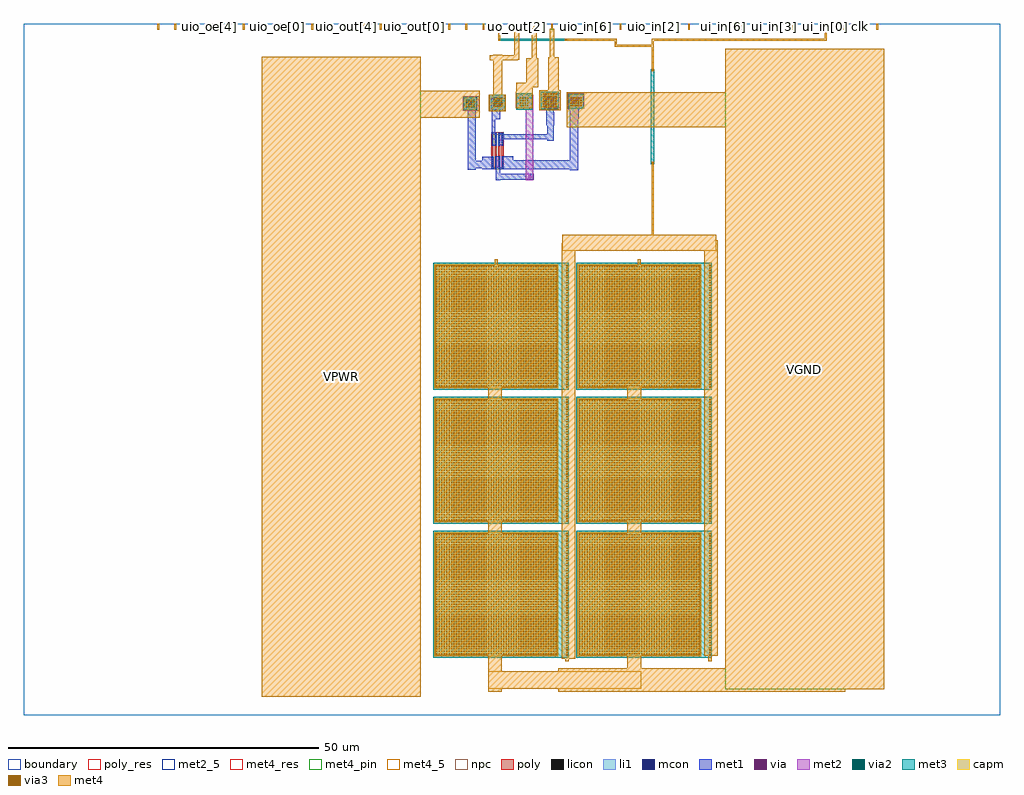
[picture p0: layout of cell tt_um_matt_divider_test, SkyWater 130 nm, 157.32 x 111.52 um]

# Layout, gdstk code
import gdstk
lib = gdstk.Library(unit=1e-6, precision=1e-09)
def R(c, l, rs):  # rectangles x0, y0, x1, y1
    for r in rs: c.add(gdstk.rectangle(r[:2], r[2:], *l))
def A(c, l, x, y, w, h, nx, ny, dx, dy):  # array of equal rectangles
    R(c, l, [(x+i*dx, y+j*dy, x+i*dx+w, y+j*dy+h) for i in range(nx) for j in range(ny)])
poly_res = (66, 13)
poly = (66, 20)
licon = (66, 44)
li1 = (67, 20)
mcon = (67, 44)
met1 = (68, 20)
via = (68, 44)
met2_5 = (69, 5)
met2 = (69, 20)
via2 = (69, 44)
met3 = (70, 20)
via3 = (70, 44)
met4_5 = (71, 5)
met4_res = (71, 13)
met4_pin = (71, 16)
met4 = (71, 20)
capm = (89, 44)
npc = (95, 20)
boundary = (235, 4)

sky130_fd_pr__res_generi = lib.new_cell('sky130_fd_pr__res_generic_m4_RPNQRH')
R(sky130_fd_pr__res_generi, met4_res, [(-0.15,-0.15,0.15,0.15)])
R(sky130_fd_pr__res_generi, met4, [(-0.15,-0.435,0.15,0.435)])

c_sky130_fd_pr__res_generi = lib.new_cell('sky130_fd_pr__res_generic_po_D4RDDB')
A(c_sky130_fd_pr__res_generi, poly_res, -0.975, -0.825, 0.33, 1.65, 4, 1, 0.54, 0)
A(c_sky130_fd_pr__res_generi, poly, -0.975, -2.975, 0.33, 5.95, 4, 1, 0.54, 0)
A(c_sky130_fd_pr__res_generi, licon, -0.895, -2.895, 0.17, 0.17, 4, 2, 0.54, 5.62)
A(c_sky130_fd_pr__res_generi, li1, -0.975, -2.895, 0.33, 0.17, 4, 2, 0.54, 5.62)
A(c_sky130_fd_pr__res_generi, li1, -0.895, -2.725, 0.17, 1.815, 4, 2, 0.54, 3.635)
A(c_sky130_fd_pr__res_generi, mcon, -0.895, -2.89, 0.17, 0.17, 4, 6, 0.54, 0.36)
A(c_sky130_fd_pr__res_generi, mcon, -0.895, 0.915, 0.17, 0.17, 4, 6, 0.54, 0.36)
A(c_sky130_fd_pr__res_generi, met1, -0.925, -2.955, 0.23, 2.105, 4, 2, 0.54, 3.805)
R(c_sky130_fd_pr__res_generi, npc, [(-0.995,-2.995,0.995,-2.625), (-0.995,2.625,0.995,2.995)])

divider = lib.new_cell('divider')
R(divider, met1, [(-0.06,-3.49,0.64,-3.43), (-0.06,-3.43,6.04,-2.46), (-0.06,-2.46,0.64,-1.68), (11.87,-1.87,13.22,-1.74), (-4.62,-1.79,-3.27,-1.53), (-2.25,-1.75,-0.43,-1.53), (2.08,-1.74,13.22,-1.69), (0.91,-1.69,13.22,-0.3), (-0.19,-1.68,0.64,-0.7), (-4.62,-1.53,-0.43,-0.37), (-0.19,-0.7,0.62,0.38), (-4.62,-0.37,-3.27,7.91), (-2.25,-0.37,-0.43,0.33), (0.91,-0.3,2.73,0.39), (11.87,-0.3,13.22,6.43), (-0.76,2.11,0.05,4.17), (0.33,2.12,1.14,3.11), (8.24,2.91,9.25,3.11), (0.33,3.11,9.27,3.96), (0.33,3.96,1.14,4.18), (8.24,3.96,9.25,5.4), (-0.74,4.17,-0.14,6.38), (8.07,5.4,9.33,7.39), (-0.76,6.38,0.64,7.91), (11.87,6.43,13.26,7.86), (8.07,7.39,9.28,7.99), (11.58,7.86,13.34,9.89), (-4.95,7.91,-3.19,9.94), (-0.84,7.91,0.67,8.58), (7.82,7.99,9.58,10.02), (-0.84,8.58,0.92,9.94)])
A(divider, via, -4.625, 8.325, 0.15, 0.15, 4, 4, 0.32, 0.32)
A(divider, via, -0.565, 8.42, 0.15, 0.15, 4, 4, 0.32, 0.32)
A(divider, via, 11.955, 8.5, 0.15, 0.15, 4, 4, 0.32, 0.32)
A(divider, via, 8.095, 8.6, 0.15, 0.15, 4, 4, 0.32, 0.32)
R(divider, via, [(5.2,-3.18,5.35,-3.03), (5.52,-3.18,5.67,-3.03), (5.2,-2.86,5.35,-2.71), (5.52,-2.86,5.67,-2.71)])
R(divider, met2_5, [(-5.42,7.69,-4.8,10.09), (-1.11,9.62,1.54,10.26), (11.55,9.7,14.2,10.54), (3.32,9.72,5.97,10.31), (7.74,9.8,10.39,10.51)])
R(divider, met2, [(4.79,-3.49,6,7.91), (-5.42,7.69,-2.77,10.09), (-1.11,7.86,1.54,10.26), (3.32,7.91,6,9.03), (7.74,8.11,10.39,10.51), (11.55,8.14,14.2,10.54), (3.32,9.03,5.97,10.31)])
divider.add(gdstk.Reference(c_sky130_fd_pr__res_generi, (0.195,1.255)))
divider.add(gdstk.Label('1', (-5.11,8.89), layer=69, texttype=5))
divider.add(gdstk.Label('2', (0.215,9.94), layer=69, texttype=5))
divider.add(gdstk.Label('3', (4.645,10.015), layer=69, texttype=5))
divider.add(gdstk.Label('4', (9.065,10.155), layer=69, texttype=5))
divider.add(gdstk.Label('5', (12.875,10.12), layer=69, texttype=5))

sky130_fd_pr__cap_mim_m3 = lib.new_cell('sky130_fd_pr__cap_mim_m3_1_W3TTNJ')
A(sky130_fd_pr__cap_mim_m3, met3, -22.46, -31.8, 21.86, 20.4, 1, 3, 0, 21.6)
A(sky130_fd_pr__cap_mim_m3, met3, 0.6, -31.8, 21.86, 20.4, 1, 3, 0, 21.6)
A(sky130_fd_pr__cap_mim_m3, via3, -0.96, -31.5, 0.2, 0.2, 1, 50, 0, 0.4)
A(sky130_fd_pr__cap_mim_m3, via3, 22.1, -31.5, 0.2, 0.2, 1, 50, 0, 0.4)
A(sky130_fd_pr__cap_mim_m3, via3, -21.96, -31.3, 0.2, 0.2, 49, 49, 0.4, 0.4)
A(sky130_fd_pr__cap_mim_m3, via3, 1.1, -31.3, 0.2, 0.2, 49, 49, 0.4, 0.4)
A(sky130_fd_pr__cap_mim_m3, via3, -0.96, -9.9, 0.2, 0.2, 1, 50, 0, 0.4)
A(sky130_fd_pr__cap_mim_m3, via3, 22.1, -9.9, 0.2, 0.2, 1, 50, 0, 0.4)
A(sky130_fd_pr__cap_mim_m3, via3, -21.96, -9.7, 0.2, 0.2, 49, 49, 0.4, 0.4)
A(sky130_fd_pr__cap_mim_m3, via3, 1.1, -9.7, 0.2, 0.2, 49, 49, 0.4, 0.4)
A(sky130_fd_pr__cap_mim_m3, via3, -0.96, 11.7, 0.2, 0.2, 1, 50, 0, 0.4)
A(sky130_fd_pr__cap_mim_m3, via3, 22.1, 11.7, 0.2, 0.2, 1, 50, 0, 0.4)
A(sky130_fd_pr__cap_mim_m3, via3, -21.96, 11.9, 0.2, 0.2, 49, 49, 0.4, 0.4)
A(sky130_fd_pr__cap_mim_m3, via3, 1.1, 11.9, 0.2, 0.2, 49, 49, 0.4, 0.4)
A(sky130_fd_pr__cap_mim_m3, met4, -22.065, -31.405, 19.61, 19.61, 1, 3, 0, 21.6)
A(sky130_fd_pr__cap_mim_m3, met4, 0.995, -31.405, 19.61, 19.61, 1, 3, 0, 21.6)
R(sky130_fd_pr__cap_mim_m3, met4, [(-12.52,-32.4,-12,-31.405), (-1.12,-32.4,-0.6,32.4), (10.54,-32.4,11.06,-31.405), (21.94,-32.4,22.46,32.4), (-12.52,-11.795,-12,-9.805), (10.54,-11.795,11.06,-9.805), (-12.52,9.805,-12,11.795), (10.54,9.805,11.06,11.795), (-12.52,31.405,-12,32.4), (10.54,31.405,11.06,32.4)])
A(sky130_fd_pr__cap_mim_m3, capm, -22.26, -31.6, 20, 20, 1, 3, 0, 21.6)
A(sky130_fd_pr__cap_mim_m3, capm, 0.8, -31.6, 20, 20, 1, 3, 0, 21.6)
R(sky130_fd_pr__cap_mim_m3, boundary, [(0.6,11.4,21,31.8)])

cap = lib.new_cell('cap')
R(cap, met4_5, [(7.3,-45.25,31.94,-42.38), (19.23,25.37,44.1,27.91)])
R(cap, met4, [(7.3,-45.7,9.51,-45.25), (29.73,-45.36,31.94,-45.25), (7.3,-45.25,31.94,-42.38), (7.3,-42.38,9.51,21.27), (29.73,-42.38,31.94,21.61), (19.12,-40.39,21.33,25.37), (42.11,-39.95,44.32,25.37), (19.12,25.37,44.32,26.58), (19.23,26.58,44.32,27.02), (19.23,27.02,44.1,27.91)])
cap.add(gdstk.Reference(sky130_fd_pr__cap_mim_m3, (20.87,-8.41)))
cap.add(gdstk.Label('a', (31.665,26.64), layer=71, texttype=5))
cap.add(gdstk.Label('b', (19.62,-43.815), layer=71, texttype=5))

tt_um_matt_divider_test = lib.new_cell('tt_um_matt_divider_test')
R(tt_um_matt_divider_test, met2, [(71.08,97.88,72.78,99.44), (88,98.01,89.98,99.82), (84,98.07,85.6,99.93), (79.76,98.15,81.47,99.7), (75.58,98.2,77.29,99.75)])
A(tt_um_matt_divider_test, via2, 71.23, 97.96, 0.2, 0.2, 4, 4, 0.4, 0.4)
A(tt_um_matt_divider_test, via2, 88.09, 98.215, 0.2, 0.2, 5, 4, 0.4, 0.4)
A(tt_um_matt_divider_test, via2, 79.915, 98.225, 0.2, 0.2, 4, 4, 0.4, 0.4)
A(tt_um_matt_divider_test, via2, 75.735, 98.275, 0.2, 0.2, 4, 4, 0.4, 0.4)
A(tt_um_matt_divider_test, via2, 84.1, 98.3, 0.2, 0.2, 4, 4, 0.4, 0.4)
R(tt_um_matt_divider_test, met3, [(101.04,88.83,101.61,104.14), (74.93,97.37,77.59,100.01), (79.32,97.6,81.96,100.29), (70.85,97.63,73.09,99.67), (83.3,97.68,86.19,100.52), (87.77,97.83,90.24,100.13), (87.14,108.73,87.46,108.77), (76.41,108.76,76.79,108.77), (76.41,108.77,87.46,109.07), (76.41,109.07,76.79,109.08), (87.14,109.07,87.46,109.11)])
A(tt_um_matt_divider_test, via3, 83.635, 98.05, 0.2, 0.2, 6, 6, 0.4, 0.4)
A(tt_um_matt_divider_test, via3, 71.18, 98.095, 0.2, 0.2, 4, 3, 0.4, 0.4)
A(tt_um_matt_divider_test, via3, 75.68, 98.105, 0.2, 0.2, 4, 4, 0.4, 0.4)
A(tt_um_matt_divider_test, via3, 79.89, 98.185, 0.2, 0.2, 4, 4, 0.4, 0.4)
A(tt_um_matt_divider_test, via3, 88.09, 98.215, 0.2, 0.2, 5, 4, 0.4, 0.4)
R(tt_um_matt_divider_test, via3, [(101.265,88.955,101.465,89.155), (101.26,103.87,101.46,104.07), (76.5,108.82,76.7,109.02), (87.2,108.82,87.4,109.02)])
A(tt_um_matt_divider_test, met4_pin, 21.47, 110.52, 0.3, 1, 43, 1, 2.76, 0)
R(tt_um_matt_divider_test, met4_pin, [(38.36,2.99,63.95,106.18), (113.05,4.24,138.64,107.43)])
A(tt_um_matt_divider_test, met4, 21.47, 110.52, 0.3, 1, 20, 1, 2.76, 0)
A(tt_um_matt_divider_test, met4, 87.71, 110.52, 0.3, 1, 15, 1, 2.76, 0)
A(tt_um_matt_divider_test, met4, 131.87, 110.52, 0.3, 1, 3, 1, 2.76, 0)
R(tt_um_matt_divider_test, met4, [(38.36,2.99,63.95,96.37), (86.14,3.84,132.36,4.24), (86.14,4.24,138.64,7.61), (113.05,7.61,138.64,94.84), (101.215,75.86,101.515,88.89), (101.2,88.89,101.53,89.22), (87.46,94.84,138.64,100.46), (38.36,96.37,73.46,100.66), (74.93,97.42,77.62,100.08), (83.09,97.55,86.5,100.75), (79.3,97.86,81.99,100.52), (75.6,100.08,77.1,105.61), (113.05,100.46,138.64,107.43), (79.32,100.52,81.98,101.22), (38.36,100.66,63.95,106.18), (84.49,100.75,86.19,106.1), (79.32,101.22,82.86,101.97), (80.92,101.97,82.86,105.89), (101.195,103.805,101.525,104.135), (101.21,104.135,101.51,107.8), (75.11,105.61,79.55,105.69), (75.11,105.69,79.81,106.44), (81.88,105.89,82.64,110.79), (84.74,106.1,85.5,110.69), (75.6,106.44,77.1,106.46), (79.05,106.44,79.81,110.73), (95.25,107.8,101.51,108.1), (101.21,108.1,101.51,108.77), (95.24,108.5,95.54,108.77), (76.435,108.755,76.765,109.085), (87.135,108.755,87.465,108.77), (87.135,108.77,95.54,109.07), (101.15,108.77,129.41,109.07), (87.135,109.07,87.465,109.085), (129.11,109.07,129.41,111.52), (76.45,109.085,76.75,109.68), (76.45,109.68,76.96,109.98), (76.66,109.98,76.96,110.52), (76.66,110.52,76.97,110.97), (84.95,110.69,85.25,111.52), (79.43,110.73,79.73,111.52), (82.19,110.79,82.49,111.52), (76.67,110.97,76.97,111.52)])
R(tt_um_matt_divider_test, boundary, [(0,0,157.32,111.52)])
tt_um_matt_divider_test.add(gdstk.Reference(sky130_fd_pr__res_generi, (95.39,108.325)))
tt_um_matt_divider_test.add(gdstk.Reference(divider, (76.12,89.75)))
tt_um_matt_divider_test.add(gdstk.Reference(cap, (67.52,49.54)))
tt_um_matt_divider_test.add(gdstk.Label('clk', (134.78,111.02), layer=71, texttype=16))
tt_um_matt_divider_test.add(gdstk.Label('ena', (137.54,111.02), layer=71, texttype=16))
tt_um_matt_divider_test.add(gdstk.Label('rst_n', (132.02,111.02), layer=71, texttype=16))
tt_um_matt_divider_test.add(gdstk.Label('ui_in[0]', (129.26,111.02), layer=71, texttype=16))
tt_um_matt_divider_test.add(gdstk.Label('ui_in[1]', (126.5,111.02), layer=71, texttype=16))
tt_um_matt_divider_test.add(gdstk.Label('ui_in[2]', (123.74,111.02), layer=71, texttype=16))
tt_um_matt_divider_test.add(gdstk.Label('ui_in[3]', (120.98,111.02), layer=71, texttype=16))
tt_um_matt_divider_test.add(gdstk.Label('ui_in[4]', (118.22,111.02), layer=71, texttype=16))
tt_um_matt_divider_test.add(gdstk.Label('ui_in[5]', (115.46,111.02), layer=71, texttype=16))
tt_um_matt_divider_test.add(gdstk.Label('ui_in[6]', (112.7,111.02), layer=71, texttype=16))
tt_um_matt_divider_test.add(gdstk.Label('ui_in[7]', (109.94,111.02), layer=71, texttype=16))
tt_um_matt_divider_test.add(gdstk.Label('uio_in[0]', (107.18,111.02), layer=71, texttype=16))
tt_um_matt_divider_test.add(gdstk.Label('uio_in[1]', (104.42,111.02), layer=71, texttype=16))
tt_um_matt_divider_test.add(gdstk.Label('uio_in[2]', (101.66,111.02), layer=71, texttype=16))
tt_um_matt_divider_test.add(gdstk.Label('uio_in[3]', (98.9,111.02), layer=71, texttype=16))
tt_um_matt_divider_test.add(gdstk.Label('uio_in[4]', (96.14,111.02), layer=71, texttype=16))
tt_um_matt_divider_test.add(gdstk.Label('uio_in[5]', (93.38,111.02), layer=71, texttype=16))
tt_um_matt_divider_test.add(gdstk.Label('uio_in[6]', (90.62,111.02), layer=71, texttype=16))
tt_um_matt_divider_test.add(gdstk.Label('uio_in[7]', (87.86,111.02), layer=71, texttype=16))
tt_um_matt_divider_test.add(gdstk.Label('uio_oe[0]', (40.94,111.02), layer=71, texttype=16))
tt_um_matt_divider_test.add(gdstk.Label('uio_oe[1]', (38.18,111.02), layer=71, texttype=16))
tt_um_matt_divider_test.add(gdstk.Label('uio_oe[2]', (35.42,111.02), layer=71, texttype=16))
tt_um_matt_divider_test.add(gdstk.Label('uio_oe[3]', (32.66,111.02), layer=71, texttype=16))
tt_um_matt_divider_test.add(gdstk.Label('uio_oe[4]', (29.9,111.02), layer=71, texttype=16))
tt_um_matt_divider_test.add(gdstk.Label('uio_oe[5]', (27.14,111.02), layer=71, texttype=16))
tt_um_matt_divider_test.add(gdstk.Label('uio_oe[6]', (24.38,111.02), layer=71, texttype=16))
tt_um_matt_divider_test.add(gdstk.Label('uio_oe[7]', (21.62,111.02), layer=71, texttype=16))
tt_um_matt_divider_test.add(gdstk.Label('uio_out[0]', (63.02,111.02), layer=71, texttype=16))
tt_um_matt_divider_test.add(gdstk.Label('uio_out[1]', (60.26,111.02), layer=71, texttype=16))
tt_um_matt_divider_test.add(gdstk.Label('uio_out[2]', (57.5,111.02), layer=71, texttype=16))
tt_um_matt_divider_test.add(gdstk.Label('uio_out[3]', (54.74,111.02), layer=71, texttype=16))
tt_um_matt_divider_test.add(gdstk.Label('uio_out[4]', (51.98,111.02), layer=71, texttype=16))
tt_um_matt_divider_test.add(gdstk.Label('uio_out[5]', (49.22,111.02), layer=71, texttype=16))
tt_um_matt_divider_test.add(gdstk.Label('uio_out[6]', (46.46,111.02), layer=71, texttype=16))
tt_um_matt_divider_test.add(gdstk.Label('uio_out[7]', (43.7,111.02), layer=71, texttype=16))
tt_um_matt_divider_test.add(gdstk.Label('uo_out[0]', (85.1,111.02), layer=71, texttype=16))
tt_um_matt_divider_test.add(gdstk.Label('uo_out[1]', (82.34,111.02), layer=71, texttype=16))
tt_um_matt_divider_test.add(gdstk.Label('uo_out[2]', (79.58,111.02), layer=71, texttype=16))
tt_um_matt_divider_test.add(gdstk.Label('uo_out[3]', (76.82,111.02), layer=71, texttype=16))
tt_um_matt_divider_test.add(gdstk.Label('uo_out[4]', (74.06,111.02), layer=71, texttype=16))
tt_um_matt_divider_test.add(gdstk.Label('uo_out[5]', (71.3,111.02), layer=71, texttype=16))
tt_um_matt_divider_test.add(gdstk.Label('uo_out[6]', (68.54,111.02), layer=71, texttype=16))
tt_um_matt_divider_test.add(gdstk.Label('uo_out[7]', (65.78,111.02), layer=71, texttype=16))
tt_um_matt_divider_test.add(gdstk.Label('VPWR', (51.155,54.585), layer=71, texttype=16))
tt_um_matt_divider_test.add(gdstk.Label('VGND', (125.845,55.835), layer=71, texttype=16))

lib.write_gds('tt_um_matt_divider_test.gds')
